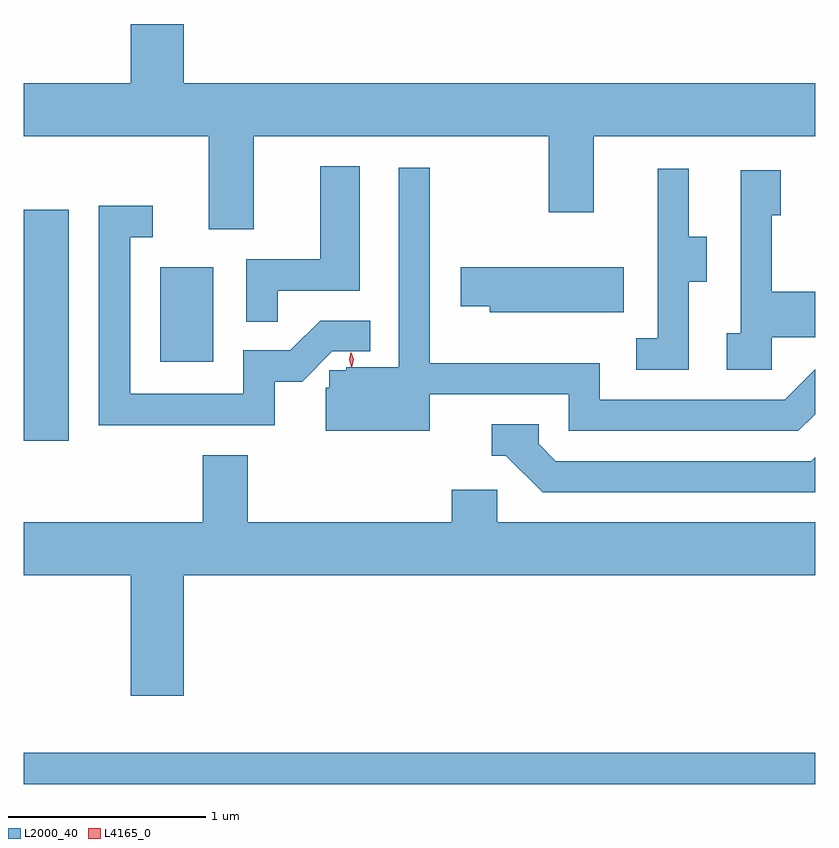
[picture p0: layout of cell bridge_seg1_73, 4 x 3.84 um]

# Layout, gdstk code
import gdstk
lib = gdstk.Library(unit=1e-6, precision=1e-09)
def R(c, l, rs):  # rectangles x0, y0, x1, y1
    for r in rs: c.add(gdstk.rectangle(r[:2], r[2:], *l))
def P(c, l, *ps):  # polygons
    for p in ps: c.add(gdstk.Polygon(p, *l))
L2000_40 = (2000, 40)
L4165_0 = (4165, 0)

bridge_seg1_73 = lib.new_cell('bridge_seg1_73')
R(bridge_seg1_73, L2000_40, [(1772.977,945.141,1776.977,945.299), (1772.977,946.876,1773.204,948.044), (1773.666,947.276,1773.934,947.754)])
P(bridge_seg1_73, L2000_40, [(1774.139,948.416),(1775.631,948.416),(1775.631,948.031),(1775.859,948.031),(1775.859,948.416),(1776.977,948.416),(1776.977,948.684),(1773.784,948.684),(1773.784,948.984),(1773.516,948.984),(1773.516,948.684),(1772.977,948.684),(1772.977,948.416),(1773.911,948.416),(1773.911,947.946),(1774.139,947.946)],
  [(1774.259,947.636),(1774.674,947.636),(1774.674,948.264),(1774.476,948.264),(1774.476,947.794),(1774.101,947.794),(1774.101,947.478),(1774.259,947.478)],
  [(1775.029,947.111),(1775.731,947.111),(1775.731,946.926),(1776.892,946.926),(1776.977,947.011),(1776.977,947.237),(1776.824,947.084),(1775.889,947.084),(1775.889,947.269),(1775.029,947.269),(1775.029,948.258),(1774.871,948.258),(1774.871,947.248),(1774.607,947.248),(1774.607,947.234),(1774.52,947.234),(1774.52,947.144),(1774.504,947.144),(1774.504,946.926),(1775.029,946.926)],
  [(1776.339,947.681),(1776.429,947.681),(1776.429,947.909),(1776.339,947.909),(1776.339,948.253),(1776.181,948.253),(1776.181,947.394),(1776.073,947.394),(1776.073,947.236),(1776.339,947.236)],
  [(1776.759,947.401),(1776.977,947.401),(1776.977,947.629),(1776.759,947.629),(1776.759,948.016),(1776.804,948.016),(1776.804,948.244),(1776.601,948.244),(1776.601,947.419),(1776.531,947.419),(1776.531,947.236),(1776.759,947.236)],
  [(1774.244,947.176),(1774.383,947.176),(1774.535,947.329),(1774.728,947.329),(1774.728,947.484),(1774.474,947.484),(1774.324,947.334),(1774.086,947.334),(1774.086,947.114),(1773.514,947.114),(1773.514,947.906),(1773.628,947.906),(1773.628,948.064),(1773.356,948.064),(1773.356,946.956),(1774.244,946.956)],
  [(1776.009,947.754),(1775.186,947.754),(1775.186,947.556),(1775.331,947.556),(1775.331,947.526),(1776.009,947.526)],
  [(1776.977,946.792),(1776.959,946.774),(1775.667,946.774),(1775.579,946.862),(1775.579,946.959),(1775.343,946.959),(1775.343,946.801),(1775.414,946.801),(1775.599,946.616),(1776.977,946.616)],
  [(1773.784,946.196),(1776.977,946.196),(1776.977,946.464),(1775.369,946.464),(1775.369,946.629),(1775.141,946.629),(1775.141,946.464),(1774.109,946.464),(1774.109,946.804),(1773.881,946.804),(1773.881,946.464),(1772.977,946.464),(1772.977,946.196),(1773.516,946.196),(1773.516,945.586),(1773.784,945.586)])
P(bridge_seg1_73, L4165_0, [(1774.636,947.254),(1774.636,947.254),(1774.624,947.287),(1774.631,947.322),(1774.632,947.322),(1774.632,947.322),(1774.644,947.289),(1774.637,947.254)],
  [(1774.632,947.251),(1774.621,947.287),(1774.629,947.324),(1774.629,947.325),(1774.63,947.324),(1774.641,947.288),(1774.634,947.251),(1774.633,947.251)])

lib.write_gds('bridge_seg1_73.gds')
